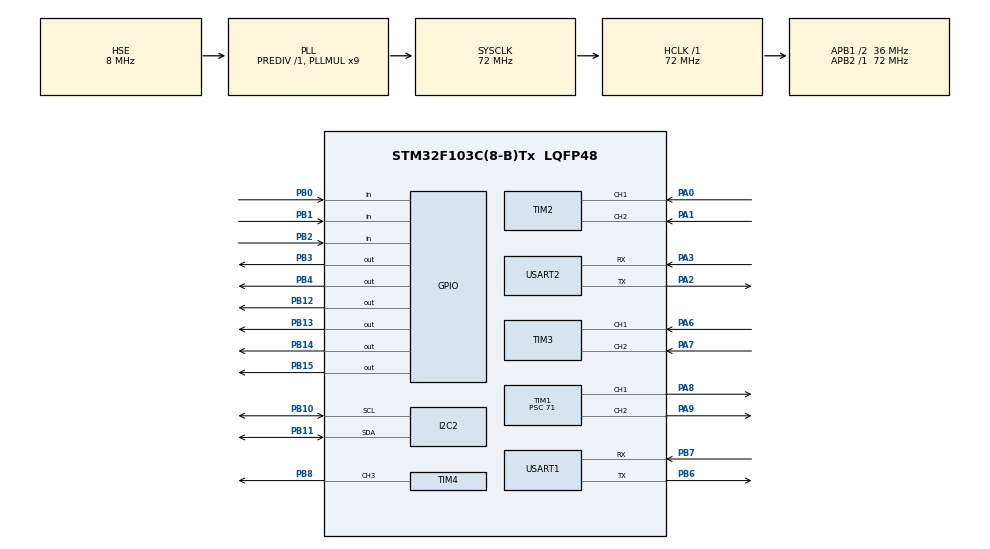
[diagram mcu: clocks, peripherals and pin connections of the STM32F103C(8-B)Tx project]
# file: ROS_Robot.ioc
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Mcu.Family=STM32F1
Mcu.Name=STM32F103C(8-B)Tx
Mcu.Package=LQFP48
NVIC.PriorityGroup=NVIC_PRIORITYGROUP_4
NVIC.TIM1_BRK_IRQn=true\:0\:0\:false\:false\:true\:true\:true\:true
NVIC.TIM1_CC_IRQn=true\:0\:0\:false\:false\:true\:true\:true\:true
NVIC.TIM1_TRG_COM_IRQn=true\:0\:0\:false\:false\:true\:true\:true\:true
NVIC.TIM1_UP_IRQn=true\:0\:0\:false\:false\:true\:true\:true\:true
NVIC.TIM2_IRQn=true\:0\:0\:true\:false\:true\:true\:true\:true
NVIC.TIM3_IRQn=true\:0\:0\:true\:false\:true\:true\:true\:true
NVIC.USART1_IRQn=true\:0\:0\:false\:false\:true\:true\:true\:true
NVIC.USART2_IRQn=true\:0\:0\:true\:false\:true\:true\:true\:true
PA0-WKUP.Signal=S_TIM2_CH1_ETR
PA1.Signal=S_TIM2_CH2
PA13.Mode=Serial_Wire
PA13.Signal=SYS_JTMS-SWDIO
PA14.Mode=Serial_Wire
PA14.Signal=SYS_JTCK-SWCLK
PA2.Mode=Asynchronous
PA2.Signal=USART2_TX
PA3.Mode=Asynchronous
PA3.Signal=USART2_RX
PA6.Signal=S_TIM3_CH1
PA7.Signal=S_TIM3_CH2
PA8.Signal=S_TIM1_CH1
PA9.Signal=S_TIM1_CH2
PB0.Signal=GPIO_Input
PB1.Signal=GPIO_Input
PB10.Mode=I2C
PB10.Signal=I2C2_SCL
PB11.Mode=I2C
PB11.Signal=I2C2_SDA
PB12.Signal=GPIO_Output
PB13.Signal=GPIO_Output
PB14.Signal=GPIO_Output
PB15.Signal=GPIO_Output
PB2.Signal=GPIO_Input
PB3.Signal=GPIO_Output
PB4.Signal=GPIO_Output
PB6.Mode=Asynchronous
PB6.Signal=USART1_TX
PB7.Mode=Asynchronous
PB7.Signal=USART1_RX
PB8.Signal=S_TIM4_CH3
PD0-OSC_IN.Mode=HSE-External-Oscillator
PD0-OSC_IN.Signal=RCC_OSC_IN
PD1-OSC_OUT.Mode=HSE-External-Oscillator
PD1-OSC_OUT.Signal=RCC_OSC_OUT
ProjectManager.HeapSize=0x200
ProjectManager.StackSize=0x400
ProjectManager.TargetToolchain=MDK-ARM V5.32
RCC.AHBFreq_Value=72000000
RCC.APB1CLKDivider=RCC_HCLK_DIV2
RCC.APB1Freq_Value=36000000
RCC.APB1TimFreq_Value=72000000
RCC.APB2Freq_Value=72000000
RCC.APB2TimFreq_Value=72000000
RCC.HCLKFreq_Value=72000000
RCC.PLLMUL=RCC_PLL_MUL9
RCC.PLLSourceVirtual=RCC_PLLSOURCE_HSE
RCC.SYSCLKFreq_VALUE=72000000
RCC.SYSCLKSource=RCC_SYSCLKSOURCE_PLLCLK
RCC.USBFreq_Value=72000000
SH.S_TIM1_CH1.0=TIM1_CH1,PWM Generation1 CH1
SH.S_TIM1_CH2.0=TIM1_CH2,PWM Generation2 CH2
SH.S_TIM2_CH1_ETR.0=TIM2_CH1,Encoder_Interface
SH.S_TIM2_CH2.0=TIM2_CH2,Encoder_Interface
SH.S_TIM3_CH1.0=TIM3_CH1,Encoder_Interface
SH.S_TIM3_CH2.0=TIM3_CH2,Encoder_Interface
SH.S_TIM4_CH3.0=TIM4_CH3,PWM Generation3 CH3
TIM1.Channel-PWM\ Generation1\ CH1=TIM_CHANNEL_1
TIM1.Channel-PWM\ Generation2\ CH2=TIM_CHANNEL_2
TIM1.Period=999
TIM1.Prescaler=71
TIM2.EncoderMode=TIM_ENCODERMODE_TI12
TIM3.EncoderMode=TIM_ENCODERMODE_TI12
TIM4.AutoReloadPreload=TIM_AUTORELOAD_PRELOAD_ENABLE
TIM4.Channel-PWM\ Generation3\ CH3=TIM_CHANNEL_3
TIM4.OCMode_PWM-PWM\ Generation3\ CH3=TIM_OCMODE_PWM2
TIM4.Period=19999
TIM4.Prescaler=71
USART1.VirtualMode=VM_ASYNC
USART2.VirtualMode=VM_ASYNC
board=custom

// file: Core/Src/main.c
/* USER CODE BEGIN Header */
/**
  ******************************************************************************
  * @file           : main.c
  * @brief          : Main program body
  ******************************************************************************
  * @attention
  *
  * Copyright (c) 2023 STMicroelectronics.
  * All rights reserved.
  *
  * This software is licensed under terms that can be found in the LICENSE file
  * in the root directory of this software component.
  * If no LICENSE file comes with this software, it is provided AS-IS.
  *
  ******************************************************************************
  */
  /*
                           _ooOoo_
                          o8888888o
                          88" . "88
                          (| -_- |)
                          O\  =  /O
                       ____/`---'\____
                     .'  \\|     |//  `.
                    /  \\|||  :  |||//  \
                   /  _||||| -:- |||||-  \
                   |   | \\\  -  /// |   |
                   | \_|  ''\---/''  |   |
                   \  .-\__  `-`  ___/-. /
                 ___`. .'  /--.--\  `. . __
              ."" '<  `.___\_<|>_/___.'  >'"".
             | | :  `- \`.;`\ _ /`;.`/ - ` : | |
             \  \ `-.   \_ __\ /__ _/   .-` /  /
        ======`-.____`-.___\_____/___.-`____.-'======
                           `=---='
        ^^^^^^^^^^^^^^^^^^^^^^^^^^^^^^^^^^^^^^^^^^^^^
                 佛祖保佑       永无BUG
        */
/* USER CODE END Header */
#include "main.h"
#include "i2c.h"
#include "tim.h"
#include "usart.h"
#include "gpio.h"

/* USER CODE BEGIN Includes */
#include "stdio.h"
#include <string.h>
#include <stdlib.h>
#include "../BSP/Servo.h"
#include "../BSP/Motor.h"
#include "../BSP/Encoder.h"
#include "../BSP/oled.h"
#include "pid.h"
/* USER CODE END Includes */

/* USER CODE BEGIN PD */
#define UART_INSTANCE USART2
#define UART_BAUDRATE 115200
#define UART_IRQ USART2_IRQn
/* 定义缓冲区大小 */
#define RX_BUFFER_SIZE 32
#define FRAME_HEAD_1 '#'
#define FRAME_HEAD_2 '@'
/* USER CODE END PD */

/* USER CODE BEGIN PV */

/* 定义接收缓冲区 */
uint8_t rx_buffer[RX_BUFFER_SIZE];
uint8_t rx_index = 0;
/* 定义变量表示是否接收到了帧头 */
uint8_t frame_received = 0;
/* 定义变量 */
int linear_velocity = 0 , angular_velocity = 0 , lidar_distance = 0 ;

int32_t count1 = 0;
int32_t count2 = 0;

/* USER CODE END PV */

void SystemClock_Config(void);
/* USER CODE BEGIN PFP */
void my_main(void);
/* USER CODE END PFP */

int main(void)
{

  /* MCU Configuration--------------------------------------------------------*/

  /* Reset of all peripherals, Initializes the Flash interface and the Systick. */
  HAL_Init();

  /* Configure the system clock */
  SystemClock_Config();

  /* Initialize all configured peripherals */
  MX_GPIO_Init();
  MX_I2C2_Init();
  MX_TIM1_Init();
  MX_TIM2_Init();
  MX_TIM3_Init();
  MX_TIM4_Init();
  MX_USART1_UART_Init();
  MX_USART2_UART_Init();
  /* USER CODE BEGIN 2 */
	printf("初始化\r\n");
  /* 舵机初始化 */
  Servo_init();
  /* 舵电机初始化 */
  Motor_init();
  /* 编码器初始化 */
  Encoder_init();
	/* PID初始化 */
	pid_init(0.85,0.15,0.05);
	HAL_UART_Receive_IT(&huart2, &rx_buffer[rx_index], 1);
  /* OLED初始化 */
  OLED_Init();
  OLED_ColorTurn(0);
  /* 显示字符串 "Autopilot System" */
  OLED_ShowString(15,0,(uint8_t *)"Autopilot System",12,1);
  /* OLED屏幕刷新 */
  OLED_Refresh();
	HAL_TIM_PWM_Start(&htim4,TIM_CHANNEL_3);
	//Motor_speed(155,155);
	int pwm_value = 0;
  /* USER CODE END 2 */

  /* Infinite loop */
  /* USER CODE BEGIN WHILE */
  while (1)
  {
		 my_main();
     HAL_Delay(1);
//		Motor_direction(1);
//		count1 = Read_Encoder(3); // 假设使用TIM2作为编码器输入
//		int rpm = Calculate_Motor_RPM(count1);
//		int output = pid_compute(50,rpm,0.8);
//		int rpm_value = Calculate_Motor_econder(output);
//		pwm_value = (rpm_value  * (999 + 1)) / 4000;
//		Motor_speed(pwm_value,pwm_value);
//    // 在此处添加控制电机转速的代码
//		printf("%d,%d,%d,%d\n",50,rpm,output,pwm_value);
//    //printf("encoder_value = %d,rmp = %d\r\n",count1,rpm);

//    HAL_Delay(500);

    /* USER CODE END WHILE */

  }
}

void SystemClock_Config(void)
{
  RCC_OscInitTypeDef RCC_OscInitStruct = {0};
  RCC_ClkInitTypeDef RCC_ClkInitStruct = {0};

  /** Initializes the RCC Oscillators according to the specified parameters
  * in the RCC_OscInitTypeDef structure.
  */
  RCC_OscInitStruct.OscillatorType = RCC_OSCILLATORTYPE_HSE;
  RCC_OscInitStruct.HSEState = RCC_HSE_ON;
  RCC_OscInitStruct.HSEPredivValue = RCC_HSE_PREDIV_DIV1;
  RCC_OscInitStruct.HSIState = RCC_HSI_ON;
  RCC_OscInitStruct.PLL.PLLState = RCC_PLL_ON;
  RCC_OscInitStruct.PLL.PLLSource = RCC_PLLSOURCE_HSE;
  RCC_OscInitStruct.PLL.PLLMUL = RCC_PLL_MUL9;
  if (HAL_RCC_OscConfig(&RCC_OscInitStruct) != HAL_OK)
  {
    Error_Handler();
  }

  /** Initializes the CPU, AHB and APB buses clocks
  */
  RCC_ClkInitStruct.ClockType = RCC_CLOCKTYPE_HCLK|RCC_CLOCKTYPE_SYSCLK
                              |RCC_CLOCKTYPE_PCLK1|RCC_CLOCKTYPE_PCLK2;
  RCC_ClkInitStruct.SYSCLKSource = RCC_SYSCLKSOURCE_PLLCLK;
  RCC_ClkInitStruct.AHBCLKDivider = RCC_SYSCLK_DIV1;
  RCC_ClkInitStruct.APB1CLKDivider = RCC_HCLK_DIV2;
  RCC_ClkInitStruct.APB2CLKDivider = RCC_HCLK_DIV1;

  if (HAL_RCC_ClockConfig(&RCC_ClkInitStruct, FLASH_LATENCY_2) != HAL_OK)
  {
    Error_Handler();
  }
}

/* USER CODE BEGIN 4 */

/* 自定义主函数 */
void my_main()
{
	/* 判断激光雷达距离，障碍物距离小于等于20cm时车辆立即停止 */
	if(lidar_distance <= 20){
    /* 设定停止PWM脉冲为0 */
		Motor_speed(0 , 0);
    /* 停止电机转动 */
		Motor_direction(3);
	}
  /* 判断激光雷达距离，障碍物距离大于20cm时车辆前进 */
  else if (lidar_distance > 20)
  {
    /* 将串口解析出的v_l线速度传入电机 */
//    Motor_speed(linear_velocity , linear_velocity);
		Motor_speed(200 , 200);
    /* 使能电机正转 */
    Motor_direction(1);
    /* 定义变量new_angle读取计算角度值 */
    int new_angle = calculate_servo_pulse(angular_velocity);
    /* 设定舵机角度 */
    set_servo_rotation(new_angle);
    /* code */
  }
}

/* 串口回调函数解析数据 */
void HAL_UART_RxCpltCallback(UART_HandleTypeDef *huart) {
    if (huart->Instance == UART_INSTANCE) {
        /* 如果接收到了帧头，根据不同的帧头类型解析命令 */
        if (frame_received == 1) {
            /* 如果接收到了换行符，则认为一条命令接收完成 */
            if (rx_buffer[rx_index-1] == '\n') {
                /* 解析命令 */
                /* 激光雷达数据解析 */
                int lidar_value = (rx_buffer[1] - '0') * 100000 + (rx_buffer[2] - '0') * 10000 + (rx_buffer[3] - '0') * 10000 + (rx_buffer[4] - '0') * 1000 +
                                  (rx_buffer[5] - '0') * 100 + (rx_buffer[6] - '0') * 10 + (rx_buffer[7] - '0') * 1;
                lidar_distance = lidar_value;
                /* 双面摄像头数据解析 */
                int v_l = (rx_buffer[9] - '0') * 1000 + (rx_buffer[10] - '0') * 100 + (rx_buffer[11] - '0') * 10 + (rx_buffer[12] - '0') * 1;
                int v_r = (rx_buffer[13] - '0') * 1000 + (rx_buffer[14] - '0') * 100 + (rx_buffer[15] - '0') * 10 + (rx_buffer[16] - '0') * 1;
                linear_velocity = v_l;
                angular_velocity = v_r;
                /* 串口1输出 */
                printf("Received lidar_value: %d\r\n", lidar_value);
                printf("Received cmd_vel: v_l=%d, v_r=%d\r\n", v_l, v_r);
                /* OLED字符显示 */
                OLED_ShowString(0,16,(uint8_t *)"linear_velocity:",12,1);
//                OLED_ShowString(0,32,(uint8_t *)"angular_velocity:",12,1);
                OLED_ShowString(0,48,(uint8_t *)"lidar_distance:",12,1);
                /* OLED数据显示 */
                OLED_ShowNum(100,16,v_l,3,12,1);
//                OLED_ShowNum(100,32,v_r,3,12,1);
                OLED_ShowNum(100,48,lidar_value,3,12,1);
                /* OLED屏幕刷新 */
                OLED_Refresh();
                /* 清空接收缓冲区和帧头标志位 */
                memset(rx_buffer, 0, RX_BUFFER_SIZE);
                rx_index = 0;
                frame_received = 0;
                /* 重新开启接收中断 */
                HAL_UART_Receive_IT(huart, &rx_buffer[rx_index], 1);
            }
                /* 继续接收数据 */
            else {
                rx_index++;
                if (rx_index >= RX_BUFFER_SIZE) {
                    /* 缓冲区已满，清空接收缓冲区和帧头标志位 */
                    memset(rx_buffer, 0, RX_BUFFER_SIZE);
                    rx_index = 0;
                    frame_received = 0;
                    /* 重新开启接收中断 */
                    HAL_UART_Receive_IT(huart, &rx_buffer[rx_index], 1);
                }
                else {
                    HAL_UART_Receive_IT(huart, &rx_buffer[rx_index], 1);
                }
            }
        }
            /* 如果没有接收到帧头，则判断是否接收到了帧头 */
        else {
            if (rx_buffer[0] == FRAME_HEAD_1) {
                frame_received = 1;
            }
            /* 清空接收缓冲区 */
            memset(rx_buffer, 0, RX_BUFFER_SIZE);
            rx_index = 0;
            /* 重新开启接收中断 */
            HAL_UART_Receive_IT(huart, &rx_buffer[rx_index], 1);
        }
    }
}

/* printf重映像 */
int fputc(int ch, FILE *f)
{
	HAL_UART_Transmit(&huart2,(uint8_t *)&ch, 1, 100);
	return (ch);
}
/* USER CODE END 4 */

void Error_Handler(void)
{
  __disable_irq();
  while (1)
  {
  }
}
